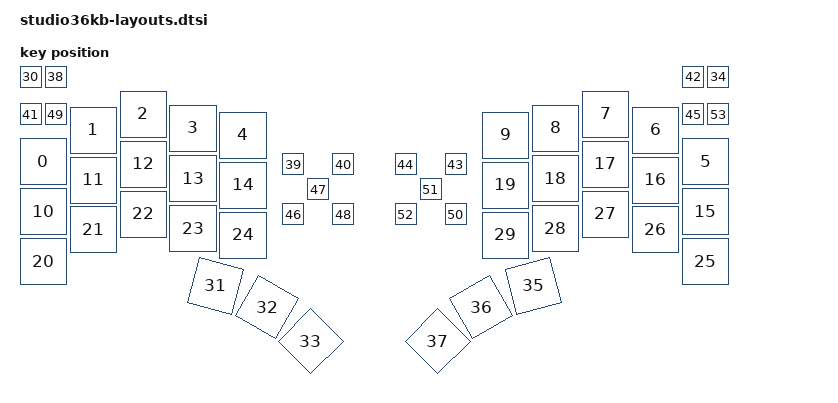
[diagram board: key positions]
#include <physical_layouts.dtsi>

/ {
    physical_layout_studio36kb: physical_layout_studio36kb {
        compatible = "zmk,physical-layout";
        display-name = "Studio36KB";
        keys  //                     w   h    x    y     rot    rx    ry
            = <&key_physical_attrs 100 100  575  170       0   575   170>
            , <&key_physical_attrs 100 100  675  107       0   675   107>
            , <&key_physical_attrs 100 100  775   75       0   775    75>
            , <&key_physical_attrs 100 100  875  103       0   875   103>
            , <&key_physical_attrs 100 100  975  117       0   975   117>
            , <&key_physical_attrs 100 100 1900  170       0  1900   170>
            , <&key_physical_attrs 100 100 1800  107       0  1800   107>
            , <&key_physical_attrs 100 100 1700   75       0  1700    75>
            , <&key_physical_attrs 100 100 1600  103       0  1600   103>
            , <&key_physical_attrs 100 100 1500  117       0  1500   117>
            , <&key_physical_attrs 100 100  575  270       0   575   270>
            , <&key_physical_attrs 100 100  675  207       0   675   207>
            , <&key_physical_attrs 100 100  775  175       0   775   175>
            , <&key_physical_attrs 100 100  875  204       0   875   204>
            , <&key_physical_attrs 100 100  975  217       0   975   217>
            , <&key_physical_attrs 100 100 1900  270       0  1900   270>
            , <&key_physical_attrs 100 100 1800  207       0  1800   207>
            , <&key_physical_attrs 100 100 1700  175       0  1700   175>
            , <&key_physical_attrs 100 100 1600  204       0  1600   204>
            , <&key_physical_attrs 100 100 1500  217       0  1500   217>
            , <&key_physical_attrs 100 100  575  370       0   575   370>
            , <&key_physical_attrs 100 100  675  306       0   675   306>
            , <&key_physical_attrs 100 100  775  275       0   775   275>
            , <&key_physical_attrs 100 100  875  304       0   875   304>
            , <&key_physical_attrs 100 100  975  317       0   975   317>
            , <&key_physical_attrs 100 100 1900  370       0  1900   370>
            , <&key_physical_attrs 100 100 1800  306       0  1800   306>
            , <&key_physical_attrs 100 100 1700  275       0  1700   275>
            , <&key_physical_attrs 100 100 1600  304       0  1600   304>
            , <&key_physical_attrs 100 100 1500  317       0  1500   317>
            , <&key_physical_attrs  50  50  575   25       0   575    25>
            , <&key_physical_attrs 100 100  905  430    1500  1005   530>
            , <&key_physical_attrs 100 100 1005  430    3000  1005   530>
            , <&key_physical_attrs 100 100 1100  405    4500  1005   530>
            , <&key_physical_attrs  50  50 1950   25       0  1950    25>
            , <&key_physical_attrs 100 100 1570  430 (-1500)  1570   530>
            , <&key_physical_attrs 100 100 1470  430 (-3000)  1570   530>
            , <&key_physical_attrs 100 100 1375  405 (-4500)  1570   530>
            , <&key_physical_attrs  50  50  625   25       0   625    25>
            , <&key_physical_attrs  50  50 1100  200       0  1100   200>
            , <&key_physical_attrs  50  50 1200  200       0  1200   200>
            , <&key_physical_attrs  50  50  575  100       0   575   100>
            , <&key_physical_attrs  50  50 1900   25       0  1900    25>
            , <&key_physical_attrs  50  50 1425  200       0  1425   200>
            , <&key_physical_attrs  50  50 1325  200       0  1325   200>
            , <&key_physical_attrs  50  50 1900  100       0  1900   100>
            , <&key_physical_attrs  50  50 1100  300       0  1100   300>
            , <&key_physical_attrs  50  50 1150  250       0  1150   250>
            , <&key_physical_attrs  50  50 1200  300       0  1200   300>
            , <&key_physical_attrs  50  50  625  100       0   625   100>
            , <&key_physical_attrs  50  50 1425  300       0  1425   300>
            , <&key_physical_attrs  50  50 1375  250       0  1375   250>
            , <&key_physical_attrs  50  50 1325  300       0  1325   300>
            , <&key_physical_attrs  50  50 1950  100       0  1950   100>
            ;
    };
};
